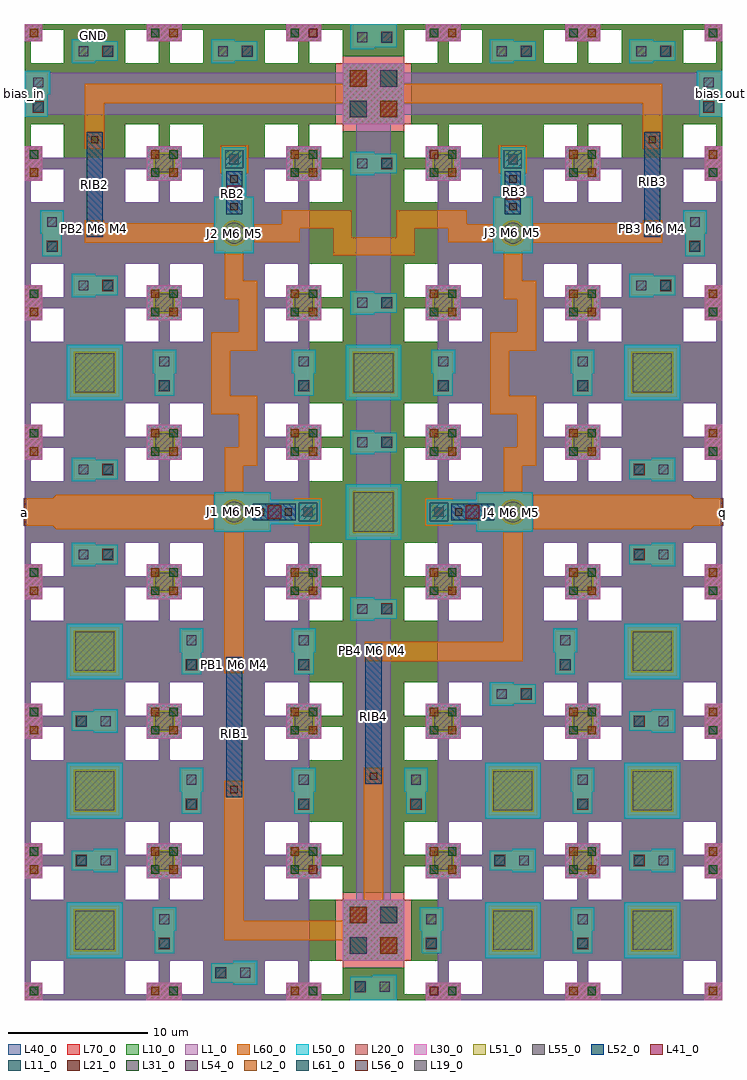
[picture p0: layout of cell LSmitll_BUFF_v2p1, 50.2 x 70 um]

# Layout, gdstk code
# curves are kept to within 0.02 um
from math import pi, radians
import gdstk
lib = gdstk.Library(unit=1e-6, precision=1e-09)
def R(c, l, rs):  # rectangles x0, y0, x1, y1
    for r in rs: c.add(gdstk.rectangle(r[:2], r[2:], *l))
def P(c, l, *ps):  # polygons
    for p in ps: c.add(gdstk.Polygon(p, *l))
L1_0 = (1, 0)
L2_0 = (2, 0)
L10_0 = (10, 0)
L11_0 = (11, 0)
L19_0 = (19, 0)
L20_0 = (20, 0)
L21_0 = (21, 0)
L30_0 = (30, 0)
L31_0 = (31, 0)
L40_0 = (40, 0)
L41_0 = (41, 0)
L50_0 = (50, 0)
L51_0 = (51, 0)
L52_0 = (52, 0)
L54_0 = (54, 0)
L55_0 = (55, 0)
L56_0 = (56, 0)
L60_0 = (60, 0)
L61_0 = (61, 0)
L70_0 = (70, 0)

ls_tr_m0 = lib.new_cell('ls_tr_M0')
P(ls_tr_m0, L1_0, [(0,0),(0,10),(1.25,10),(1.25,8.75),(0.4,8.75),(0.4,1.25),(1.25,1.25),(1.25,0.4),(2.8,0.4),(2.8,2.8),(0.4,2.8),(0.4,7.2),(2.8,7.2),(2.8,9.6),(1.25,9.6),(1.25,10),(7.2,10),(7.2,0.4),(8.75,0.4),(8.75,1.25),(9.6,1.25),(9.6,2.8),(7.2,2.8),(7.2,7.2),(9.6,7.2),(9.6,8.75),(8.75,8.75),(8.75,9.6),(7.2,9.6),(7.2,10),(10,10),(10,0)])

ls_fakejj_3umx3um = lib.new_cell('ls_FakeJJ_3umx3um')
R(ls_fakejj_3umx3um, L40_0, [(-2,-2,2,2)])
R(ls_fakejj_3umx3um, L50_0, [(-2,-2,2,2)])
R(ls_fakejj_3umx3um, L51_0, [(-1.5,-1.5,1.5,1.5)])
R(ls_fakejj_3umx3um, L55_0, [(-1.4,-1.4,1.4,1.4)])
R(ls_fakejj_3umx3um, L60_0, [(-1.75,-1.75,1.75,1.75)])

ls_tr_m7 = lib.new_cell('ls_tr_M7')
P(ls_tr_m7, L70_0, [(0,0),(0,10),(1.25,10),(1.25,8.75),(0.4,8.75),(0.4,1.25),(1.25,1.25),(1.25,0.4),(2.8,0.4),(2.8,2.8),(0.4,2.8),(0.4,7.2),(2.8,7.2),(2.8,9.6),(1.25,9.6),(1.25,10),(7.2,10),(7.2,0.4),(8.75,0.4),(8.75,1.25),(9.6,1.25),(9.6,2.8),(7.2,2.8),(7.2,7.2),(9.6,7.2),(9.6,8.75),(8.75,8.75),(8.75,9.6),(7.2,9.6),(7.2,10),(10,10),(10,0)])

ls_tr_u_m4_alt = lib.new_cell('ls_tr_u_M4_alt')
R(ls_tr_u_m4_alt, L1_0, [(0,0,1.25,1.25), (8.75,0,10,1.25), (0,8.75,1.25,10), (8.75,8.75,10,10)])
R(ls_tr_u_m4_alt, L2_0, [(9.05,0.35,9.65,0.95), (0.35,9.05,0.95,9.65)])
R(ls_tr_u_m4_alt, L10_0, [(0,0,1.25,1.25), (1.25,0,8.75,0.4), (8.75,0,10,1.25), (2.8,0.4,7.2,9.6), (0,1.25,0.4,8.75), (9.6,1.25,10,8.75), (0.4,2.8,2.8,7.2), (7.2,2.8,9.6,7.2), (0,8.75,1.25,10), (8.75,8.75,10,10), (1.25,9.6,8.75,10)])
R(ls_tr_u_m4_alt, L11_0, [(0.35,0.35,0.95,0.95), (9.05,9.05,9.65,9.65)])
R(ls_tr_u_m4_alt, L20_0, [(0,0,1.25,1.25), (8.75,0,10,1.25), (0,8.75,1.25,10), (8.75,8.75,10,10)])
R(ls_tr_u_m4_alt, L21_0, [(9.05,0.35,9.65,0.95), (0.35,9.05,0.95,9.65)])
R(ls_tr_u_m4_alt, L30_0, [(0,0,1.25,1.25), (8.75,0,10,1.25), (0,8.75,1.25,10), (8.75,8.75,10,10)])
R(ls_tr_u_m4_alt, L31_0, [(0.35,0.35,0.95,0.95), (9.05,9.05,9.65,9.65)])
P(ls_tr_u_m4_alt, L40_0, [(0,0),(0,10),(1.25,10),(1.25,8.75),(0.4,8.75),(0.4,1.25),(1.25,1.25),(1.25,0.4),(2.8,0.4),(2.8,2.8),(0.4,2.8),(0.4,7.2),(2.8,7.2),(2.8,9.6),(1.25,9.6),(1.25,10),(7.2,10),(7.2,0.4),(8.75,0.4),(8.75,1.25),(9.6,1.25),(9.6,2.8),(7.2,2.8),(7.2,7.2),(9.6,7.2),(9.6,8.75),(8.75,8.75),(8.75,9.6),(7.2,9.6),(7.2,10),(10,10),(10,0)])
ls_tr_u_m4_alt.add(gdstk.Reference(ls_tr_m7, (0,0)))

ls_tr_bias_pillar_m0m6 = lib.new_cell('ls_tr_bias_pillar_M0M6')
R(ls_tr_bias_pillar_m0m6, L1_0, [(0,0,1.25,1.25), (8.75,0,10,1.25), (2.8,2.8,7.2,7.2), (0,8.75,1.25,10), (8.75,8.75,10,10)])
R(ls_tr_bias_pillar_m0m6, L2_0, [(5.5,3.3,6.7,4.5), (3.3,5.5,4.5,6.7)])
R(ls_tr_bias_pillar_m0m6, L10_0, [(0,0,1.25,1.25), (8.75,0,10,1.25), (2.8,2.8,7.2,7.2), (0,8.75,1.25,10), (8.75,8.75,10,10)])
P(ls_tr_bias_pillar_m0m6, L10_0, [(0,0),(0,10),(7.2,10),(7.2,7.7),(2.8,7.7),(2.8,9.6),(1.25,9.6),(1.25,8.75),(0.4,8.75),(0.4,7.2),(2.3,7.2),(2.3,2.8),(0.4,2.8),(0.4,1.25),(1.25,1.25),(1.25,0.4),(2.8,0.4),(2.8,2.3),(7.2,2.3),(7.2,0.4),(8.75,0.4),(8.75,1.25),(9.6,1.25),(9.6,2.8),(7.7,2.8),(7.7,7.2),(9.6,7.2),(9.6,8.75),(8.75,8.75),(8.75,9.6),(7.2,9.6),(7.2,10),(10,10),(10,0)])
R(ls_tr_bias_pillar_m0m6, L11_0, [(0.35,0.35,0.95,0.95), (3.3,3.3,4.5,4.5), (5.5,5.5,6.7,6.7), (9.05,9.05,9.65,9.65)])
R(ls_tr_bias_pillar_m0m6, L20_0, [(0,0,1.25,1.25), (8.75,0,10,1.25), (2.8,2.8,7.2,7.2), (0,8.75,1.25,10), (8.75,8.75,10,10)])
R(ls_tr_bias_pillar_m0m6, L21_0, [(9.05,0.35,9.65,0.95), (5.5,3.3,6.7,4.5), (3.3,5.5,4.5,6.7), (0.35,9.05,0.95,9.65)])
R(ls_tr_bias_pillar_m0m6, L30_0, [(0,0,1.25,1.25), (8.75,0,10,1.25), (2.8,2.8,7.2,7.2), (0,8.75,1.25,10), (8.75,8.75,10,10)])
R(ls_tr_bias_pillar_m0m6, L31_0, [(0.35,0.35,0.95,0.95), (3.3,3.3,4.5,4.5), (5.5,5.5,6.7,6.7), (9.05,9.05,9.65,9.65)])
R(ls_tr_bias_pillar_m0m6, L40_0, [(2.8,2.8,7.2,7.2)])
P(ls_tr_bias_pillar_m0m6, L40_0, [(0,0),(0,10),(7.2,10),(7.2,7.7),(2.8,7.7),(2.8,9.6),(1.25,9.6),(1.25,8.75),(0.4,8.75),(0.4,7.2),(2.3,7.2),(2.3,2.8),(0.4,2.8),(0.4,1.25),(1.25,1.25),(1.25,0.4),(2.8,0.4),(2.8,2.3),(7.2,2.3),(7.2,0.4),(8.75,0.4),(8.75,1.25),(9.6,1.25),(9.6,2.8),(7.7,2.8),(7.7,7.2),(9.6,7.2),(9.6,8.75),(8.75,8.75),(8.75,9.6),(7.2,9.6),(7.2,10),(10,10),(10,0)])
R(ls_tr_bias_pillar_m0m6, L41_0, [(5.5,3.3,6.7,4.5), (3.3,5.5,4.5,6.7)])
R(ls_tr_bias_pillar_m0m6, L50_0, [(2.8,2.8,7.2,7.2)])
R(ls_tr_bias_pillar_m0m6, L54_0, [(3.3,3.3,4.5,4.5), (5.5,5.5,6.7,6.7)])
R(ls_tr_bias_pillar_m0m6, L60_0, [(2.8,2.8,7.2,7.2)])
P(ls_tr_bias_pillar_m0m6, L70_0, [(0,0),(0,10),(1.25,10),(1.25,8.75),(0.4,8.75),(0.4,1.25),(1.25,1.25),(1.25,0.4),(2.8,0.4),(2.8,2.8),(0.4,2.8),(0.4,7.2),(2.8,7.2),(2.8,9.6),(1.25,9.6),(1.25,10),(7.2,10),(7.2,0.4),(8.75,0.4),(8.75,1.25),(9.6,1.25),(9.6,2.8),(7.2,2.8),(7.2,7.2),(9.6,7.2),(9.6,8.75),(8.75,8.75),(8.75,9.6),(7.2,9.6),(7.2,10),(10,10),(10,0)])

ls_conn_m4m5m6m7 = lib.new_cell('ls_conn_M4M5M6M7')
R(ls_conn_m4m5m6m7, L40_0, [(0,0,1.4,1.4)])
R(ls_conn_m4m5m6m7, L41_0, [(0.3,0.3,1.1,1.1)])
P(ls_conn_m4m5m6m7, L50_0, [(1.6,-0.15),(1.6,0),(0,0),(0,1.4),(1.6,1.4),(1.6,1.55),(3.3,1.55),(3.3,-0.15)])
R(ls_conn_m4m5m6m7, L54_0, [(2.1,0.35,2.8,1.05)])
R(ls_conn_m4m5m6m7, L60_0, [(0,0,3.15,1.4)])
R(ls_conn_m4m5m6m7, L61_0, [(0.35,0.35,1.05,1.05)])
R(ls_conn_m4m5m6m7, L70_0, [(0,0,1.4,1.4)])

ls_conn_m5m6m7 = lib.new_cell('ls_conn_M5M6M7')
R(ls_conn_m5m6m7, L50_0, [(-0.5,-0.5,1.2,1.2)])
R(ls_conn_m5m6m7, L54_0, [(0,0,0.7,0.7)])
R(ls_conn_m5m6m7, L60_0, [(-0.65,-0.65,1.35,1.35)])
R(ls_conn_m5m6m7, L61_0, [(-0.3,-0.3,1,1)])
R(ls_conn_m5m6m7, L70_0, [(-0.65,-0.65,1.35,1.35)])

ls_jj_250_sg = lib.new_cell('ls_jj_250_sg')
R(ls_jj_250_sg, L41_0, [(-0.5,2.4,0.5,3.4)])
R(ls_jj_250_sg, L50_0, [(-1.425,-1.425,1.425,2.625), (-0.875,2.625,0.875,6.175)])
P(ls_jj_250_sg, L51_0, [(0,-0.91),(-0.18,-0.895),(-0.35,-0.84),(-0.645,-0.645),(-0.84,-0.35),(-0.91,0),(-0.895,0.18),(-0.84,0.35),(-0.645,0.645),(-0.35,0.84),(-0.18,0.895),(0,0.91),(0.18,0.895),(0.35,0.84),(0.645,0.645),(0.84,0.35),(0.895,0.18),(0.91,0),(0.84,-0.35),(0.645,-0.645),(0.35,-0.84),(0.18,-0.895)])
R(ls_jj_250_sg, L52_0, [(-0.575,1.35,0.575,4.425)])
R(ls_jj_250_sg, L54_0, [(-0.35,4.95,0.35,5.65)])
P(ls_jj_250_sg, L55_0, [(0,-0.76),(-0.15,-0.75),(-0.29,-0.7),(-0.54,-0.54),(-0.7,-0.29),(-0.75,-0.15),(-0.76,0),(-0.75,0.15),(-0.7,0.29),(-0.54,0.54),(-0.29,0.7),(-0.15,0.75),(0,0.76),(0.15,0.75),(0.29,0.7),(0.54,0.54),(0.7,0.29),(0.75,0.15),(0.76,0),(0.75,-0.15),(0.7,-0.29),(0.54,-0.54),(0.29,-0.7),(0.15,-0.75)])
R(ls_jj_250_sg, L56_0, [(-0.26,1.64,0.26,2.16), (-0.26,3.63,0.26,4.15)])
R(ls_jj_250_sg, L60_0, [(-1.275,-1.275,1.275,2.525), (-0.725,3.25,0.725,6.025)])
ls_jj_250_sg.add(gdstk.Reference(ls_conn_m5m6m7, (-0.35,4.95)))

ls_ib_175 = lib.new_cell('ls_ib_175')
R(ls_ib_175, L52_0, [(-0.575,0,0.575,10.05)])
R(ls_ib_175, L56_0, [(-0.26,0.29,0.26,0.81), (-0.26,9.26,0.26,9.78)])
R(ls_ib_175, L60_0, [(-0.625,-0.1,0.625,1.175), (-0.625,8.875,0.625,10.15)])

ls_fakejj_1p5x1p5um = lib.new_cell('ls_FakeJJ_1p5x1p5um')
R(ls_fakejj_1p5x1p5um, L40_0, [(-1.25,-1.25,1.25,1.25)])
R(ls_fakejj_1p5x1p5um, L50_0, [(-1.25,-1.25,1.25,1.25)])
R(ls_fakejj_1p5x1p5um, L51_0, [(-0.75,-0.75,0.75,0.75)])
R(ls_fakejj_1p5x1p5um, L55_0, [(-0.65,-0.65,0.65,0.65)])
R(ls_fakejj_1p5x1p5um, L60_0, [(-1,-1,1,1)])

ls_ib_235 = lib.new_cell('ls_ib_235')
R(ls_ib_235, L52_0, [(-0.575,0,0.575,7.475)])
R(ls_ib_235, L56_0, [(-0.26,0.29,0.26,0.81), (-0.26,6.68,0.26,7.2)])
R(ls_ib_235, L60_0, [(-0.625,-0.1,0.625,1.175), (-0.625,6.3,0.625,7.575)])

lsmitll_buff_v2p1 = lib.new_cell('LSmitll_BUFF_v2p1')
R(lsmitll_buff_v2p1, L1_0, [(20,1.25,20.4,58.75), (29.6,1.25,30,58.75), (41.25,49.6,48.75,50), (1.25,60,18.75,60.4), (31.25,60,48.75,60.4)])
R(lsmitll_buff_v2p1, L19_0, [(14.74,23.81,15.26,24.33), (24.74,24.76,25.26,25.28), (4.74,55.04,5.26,55.56), (44.74,55.04,45.26,55.56)])
R(lsmitll_buff_v2p1, L50_0, [(23.35,0,26.65,0.25), (0,63.35,0.25,66.65), (49.75,63.35,50,66.65), (23.35,69.75,26.65,70)])
R(lsmitll_buff_v2p1, L60_0, [(23.35,0,26.5,0.25), (0,63.35,0.25,66.5), (49.75,63.35,50,66.5), (23.5,69.75,26.65,70)])
P(lsmitll_buff_v2p1, L60_0, [(47.75,33.75),(47.75,36.25),(48,36),(48,34)],
  [(2.25,33.75),(2,34),(2,36),(2.25,36.25)])
lsmitll_buff_v2p1.add(gdstk.FlexPath([(47.75,35),(36.2,35)], 2.5, ends="flush", simple_path=True, layer=60, datatype=0))  # L60_0
lsmitll_buff_v2p1.add(gdstk.FlexPath([(50,35),(48,35)], 2, ends="flush", simple_path=True, layer=60, datatype=0))  # L60_0
lsmitll_buff_v2p1.add(gdstk.FlexPath([(0,35),(2,35)], 2, ends="flush", simple_path=True, layer=60, datatype=0))  # L60_0
lsmitll_buff_v2p1.add(gdstk.FlexPath([(2.25,35),(13.8,35)], 2.5, ends="flush", simple_path=True, layer=60, datatype=0))  # L60_0
lsmitll_buff_v2p1.add(gdstk.FlexPath([(35,33.725),(35,25),(24.375,25)], 1.4, ends="flush", simple_path=True, layer=60, datatype=0))  # L60_0
lsmitll_buff_v2p1.add(gdstk.FlexPath([(25,16.675),(25,5)], 1.4, ends="flush", simple_path=True, layer=60, datatype=0))  # L60_0
lsmitll_buff_v2p1.add(gdstk.FlexPath([(15,33.725),(15,23.425)], 1.4, ends="flush", simple_path=True, layer=60, datatype=0))  # L60_0
lsmitll_buff_v2p1.add(gdstk.FlexPath([(15,36.275),(15,38.975),(16,38.975),(16,42.675),(14.05,42.675),(14.05,47.225),(16,47.225),(16,50.925),(15,50.925),(15,53.725)], 1.35, ends="flush", simple_path=True, layer=60, datatype=0))  # L60_0
lsmitll_buff_v2p1.add(gdstk.FlexPath([(35,36.275),(35,38.975),(36,38.975),(36,42.675),(34.05,42.675),(34.05,47.225),(36,47.225),(36,50.925),(35,50.925),(35,53.725)], 1.35, ends="flush", simple_path=True, layer=60, datatype=0))  # L60_0
lsmitll_buff_v2p1.add(gdstk.FlexPath([(33.725,55),(31.025,55),(31.025,56),(27.325,56),(27.325,54.05),(22.775,54.05),(22.775,56),(19.075,56),(19.075,55),(16.275,55)], 1.3, ends="flush", simple_path=True, layer=60, datatype=0))  # L60_0
lsmitll_buff_v2p1.add(gdstk.FlexPath([(13.725,55),(5,55),(5,55.925)], 1.4, ends="flush", simple_path=True, layer=60, datatype=0))  # L60_0
lsmitll_buff_v2p1.add(gdstk.FlexPath([(36.275,55),(45,55),(45,55.925)], 1.4, ends="flush", simple_path=True, layer=60, datatype=0))  # L60_0
lsmitll_buff_v2p1.add(gdstk.FlexPath([(45,61.05),(45,65),(25,65)], 1.4, ends="flush", simple_path=True, layer=60, datatype=0))  # L60_0
lsmitll_buff_v2p1.add(gdstk.FlexPath([(5,61.05),(5,65),(25,65)], 1.4, ends="flush", simple_path=True, layer=60, datatype=0))  # L60_0
lsmitll_buff_v2p1.add(gdstk.FlexPath([(25,5),(15,5),(15,15.725)], 1.4, ends="flush", simple_path=True, layer=60, datatype=0))  # L60_0
lsmitll_buff_v2p1.add(gdstk.FlexPath([(25,65),(25,5)], 2.5, ends="flush", simple_path=True, layer=1, datatype=0))  # L1_0
lsmitll_buff_v2p1.add(gdstk.FlexPath([(0,65),(50,65)], 3, ends="flush", simple_path=True, layer=1, datatype=0))  # L1_0
lsmitll_buff_v2p1.add(gdstk.FlexPath([(50,34),(50,36)], 0.2, ends="flush", simple_path=True, layer=19, datatype=0))  # L19_0
lsmitll_buff_v2p1.add(gdstk.FlexPath([(0,34),(0,36)], 0.2, ends="flush", simple_path=True, layer=19, datatype=0))  # L19_0
lsmitll_buff_v2p1.add(gdstk.Reference(ls_tr_m0, (0,30)))
lsmitll_buff_v2p1.add(gdstk.Reference(ls_tr_m0, (40,30)))
lsmitll_buff_v2p1.add(gdstk.Reference(ls_fakejj_3umx3um, (25,35)))
lsmitll_buff_v2p1.add(gdstk.Reference(ls_tr_u_m4_alt, (20,10)))
lsmitll_buff_v2p1.add(gdstk.Reference(ls_tr_bias_pillar_m0m6, (20,60)))
lsmitll_buff_v2p1.add(gdstk.Reference(ls_conn_m4m5m6m7, (23.35,0.25)))
lsmitll_buff_v2p1.add(gdstk.Reference(ls_conn_m4m5m6m7, (26.65,27.35), rotation=pi, x_reflection=True))
lsmitll_buff_v2p1.add(gdstk.Reference(ls_conn_m4m5m6m7, (26.65,68.35), rotation=pi, x_reflection=True))
lsmitll_buff_v2p1.add(gdstk.Reference(ls_conn_m4m5m6m7, (26.65,49.3), rotation=pi, x_reflection=True))
lsmitll_buff_v2p1.add(gdstk.Reference(ls_conn_m4m5m6m7, (26.65,39.3), rotation=pi, x_reflection=True))
lsmitll_buff_v2p1.add(gdstk.Reference(ls_tr_bias_pillar_m0m6, (20,0)))
lsmitll_buff_v2p1.add(gdstk.Reference(ls_jj_250_sg, (35,35), rotation=pi/2))
lsmitll_buff_v2p1.add(gdstk.Reference(ls_tr_u_m4_alt, (40,30)))
lsmitll_buff_v2p1.add(gdstk.Reference(ls_tr_u_m4_alt, (30,30)))
lsmitll_buff_v2p1.add(gdstk.Reference(ls_tr_u_m4_alt, (20,20)))
lsmitll_buff_v2p1.add(gdstk.Reference(ls_tr_u_m4_alt, (20,30)))
lsmitll_buff_v2p1.add(gdstk.Reference(ls_tr_u_m4_alt, (20,40)))
lsmitll_buff_v2p1.add(gdstk.Reference(ls_tr_u_m4_alt, (20,50)))
lsmitll_buff_v2p1.add(gdstk.Reference(ls_tr_u_m4_alt, (10,30)))
lsmitll_buff_v2p1.add(gdstk.Reference(ls_tr_u_m4_alt, (0,30)))
lsmitll_buff_v2p1.add(gdstk.Reference(ls_jj_250_sg, (15,35), rotation=3*pi/2))
lsmitll_buff_v2p1.add(gdstk.Reference(ls_ib_175, (25,15.5)))
lsmitll_buff_v2p1.add(gdstk.Reference(ls_tr_m0, (30,30)))
lsmitll_buff_v2p1.add(gdstk.Reference(ls_tr_m0, (10,30)))
lsmitll_buff_v2p1.add(gdstk.Reference(ls_conn_m4m5m6m7, (26.65,59.3), rotation=pi, x_reflection=True))
lsmitll_buff_v2p1.add(gdstk.Reference(ls_fakejj_3umx3um, (25,45)))
lsmitll_buff_v2p1.add(gdstk.Reference(ls_conn_m4m5m6m7, (43.35,37.35)))
lsmitll_buff_v2p1.add(gdstk.Reference(ls_conn_m4m5m6m7, (46.65,50.55), rotation=pi, x_reflection=True))
lsmitll_buff_v2p1.add(gdstk.Reference(ls_conn_m4m5m6m7, (36.65,67.35), rotation=pi, x_reflection=True))
lsmitll_buff_v2p1.add(gdstk.Reference(ls_conn_m4m5m6m7, (46.65,67.35), rotation=pi, x_reflection=True))
lsmitll_buff_v2p1.add(gdstk.Reference(ls_tr_m0, (40,40)))
lsmitll_buff_v2p1.add(gdstk.Reference(ls_conn_m4m5m6m7, (48.35,63.35), rotation=pi/2, x_reflection=True))
lsmitll_buff_v2p1.add(gdstk.Reference(ls_conn_m4m5m6m7, (39.3,43.35), rotation=pi/2, x_reflection=True))
lsmitll_buff_v2p1.add(gdstk.Reference(ls_jj_250_sg, (35,55)))
lsmitll_buff_v2p1.add(gdstk.Reference(ls_conn_m4m5m6m7, (29.3,43.35), rotation=pi/2, x_reflection=True))
lsmitll_buff_v2p1.add(gdstk.Reference(ls_tr_u_m4_alt, (40,50)))
lsmitll_buff_v2p1.add(gdstk.Reference(ls_fakejj_1p5x1p5um, (30,60)))
lsmitll_buff_v2p1.add(gdstk.Reference(ls_fakejj_1p5x1p5um, (40,60)))
lsmitll_buff_v2p1.add(gdstk.Reference(ls_fakejj_1p5x1p5um, (40,50)))
lsmitll_buff_v2p1.add(gdstk.Reference(ls_fakejj_1p5x1p5um, (30,50)))
lsmitll_buff_v2p1.add(gdstk.Reference(ls_fakejj_1p5x1p5um, (30,40)))
lsmitll_buff_v2p1.add(gdstk.Reference(ls_fakejj_1p5x1p5um, (40,40)))
lsmitll_buff_v2p1.add(gdstk.Reference(ls_tr_m0, (30,50)))
lsmitll_buff_v2p1.add(gdstk.Reference(ls_tr_m0, (40,50)))
lsmitll_buff_v2p1.add(gdstk.Reference(ls_tr_m0, (30,40)))
lsmitll_buff_v2p1.add(gdstk.Reference(ls_conn_m4m5m6m7, (47.35,53.35), rotation=pi/2, x_reflection=True))
lsmitll_buff_v2p1.add(gdstk.Reference(ls_tr_u_m4_alt, (30,60)))
lsmitll_buff_v2p1.add(gdstk.Reference(ls_tr_u_m4_alt, (30,50)))
lsmitll_buff_v2p1.add(gdstk.Reference(ls_tr_u_m4_alt, (40,60)))
lsmitll_buff_v2p1.add(gdstk.Reference(ls_tr_u_m4_alt, (40,40)))
lsmitll_buff_v2p1.add(gdstk.Reference(ls_tr_u_m4_alt, (30,40)))
lsmitll_buff_v2p1.add(gdstk.Reference(ls_fakejj_3umx3um, (45,45)))
lsmitll_buff_v2p1.add(gdstk.Reference(ls_ib_235, (45,54.75)))
lsmitll_buff_v2p1.add(gdstk.Reference(ls_conn_m4m5m6m7, (6.65,50.55), rotation=pi, x_reflection=True))
lsmitll_buff_v2p1.add(gdstk.Reference(ls_conn_m4m5m6m7, (6.65,67.35), rotation=pi, x_reflection=True))
lsmitll_buff_v2p1.add(gdstk.Reference(ls_conn_m4m5m6m7, (16.65,67.35), rotation=pi, x_reflection=True))
lsmitll_buff_v2p1.add(gdstk.Reference(ls_tr_u_m4_alt, (10,60)))
lsmitll_buff_v2p1.add(gdstk.Reference(ls_fakejj_1p5x1p5um, (20,50)))
lsmitll_buff_v2p1.add(gdstk.Reference(ls_fakejj_1p5x1p5um, (10,50)))
lsmitll_buff_v2p1.add(gdstk.Reference(ls_fakejj_1p5x1p5um, (10,40)))
lsmitll_buff_v2p1.add(gdstk.Reference(ls_fakejj_1p5x1p5um, (20,40)))
lsmitll_buff_v2p1.add(gdstk.Reference(ls_tr_u_m4_alt, (10,50)))
lsmitll_buff_v2p1.add(gdstk.Reference(ls_tr_u_m4_alt, (10,40)))
lsmitll_buff_v2p1.add(gdstk.Reference(ls_tr_m0, (10,50)))
lsmitll_buff_v2p1.add(gdstk.Reference(ls_conn_m4m5m6m7, (19.3,43.35), rotation=pi/2, x_reflection=True))
lsmitll_buff_v2p1.add(gdstk.Reference(ls_conn_m4m5m6m7, (9.3,43.35), rotation=pi/2, x_reflection=True))
lsmitll_buff_v2p1.add(gdstk.Reference(ls_tr_m0, (10,40)))
lsmitll_buff_v2p1.add(gdstk.Reference(ls_tr_u_m4_alt, (0,50)))
lsmitll_buff_v2p1.add(gdstk.Reference(ls_tr_u_m4_alt, (0,60)))
lsmitll_buff_v2p1.add(gdstk.Reference(ls_tr_m0, (0,50)))
lsmitll_buff_v2p1.add(gdstk.Reference(ls_conn_m4m5m6m7, (0.25,63.35), rotation=pi/2, x_reflection=True))
lsmitll_buff_v2p1.add(gdstk.Reference(ls_jj_250_sg, (15,55), rotation=pi, x_reflection=True))
lsmitll_buff_v2p1.add(gdstk.Reference(ls_tr_m0, (0,40)))
lsmitll_buff_v2p1.add(gdstk.Reference(ls_conn_m4m5m6m7, (1.25,53.35), rotation=pi/2, x_reflection=True))
lsmitll_buff_v2p1.add(gdstk.Reference(ls_tr_u_m4_alt, (0,40)))
lsmitll_buff_v2p1.add(gdstk.Reference(ls_fakejj_3umx3um, (5,45)))
lsmitll_buff_v2p1.add(gdstk.Reference(ls_conn_m4m5m6m7, (6.65,37.35), rotation=pi, x_reflection=True))
lsmitll_buff_v2p1.add(gdstk.Reference(ls_fakejj_1p5x1p5um, (10,60)))
lsmitll_buff_v2p1.add(gdstk.Reference(ls_ib_235, (5,54.75)))
lsmitll_buff_v2p1.add(gdstk.Reference(ls_fakejj_1p5x1p5um, (20,60)))
lsmitll_buff_v2p1.add(gdstk.Reference(ls_conn_m4m5m6m7, (3.35,19.3)))
lsmitll_buff_v2p1.add(gdstk.Reference(ls_tr_u_m4_alt, (0,0)))
lsmitll_buff_v2p1.add(gdstk.Reference(ls_fakejj_1p5x1p5um, (20,30)))
lsmitll_buff_v2p1.add(gdstk.Reference(ls_fakejj_1p5x1p5um, (10,30)))
lsmitll_buff_v2p1.add(gdstk.Reference(ls_fakejj_1p5x1p5um, (10,20)))
lsmitll_buff_v2p1.add(gdstk.Reference(ls_fakejj_1p5x1p5um, (20,20)))
lsmitll_buff_v2p1.add(gdstk.Reference(ls_fakejj_1p5x1p5um, (20,10)))
lsmitll_buff_v2p1.add(gdstk.Reference(ls_fakejj_1p5x1p5um, (10,10)))
lsmitll_buff_v2p1.add(gdstk.Reference(ls_fakejj_3umx3um, (5,15)))
lsmitll_buff_v2p1.add(gdstk.Reference(ls_fakejj_3umx3um, (5,25)))
lsmitll_buff_v2p1.add(gdstk.Reference(ls_tr_m0, (0,10)))
lsmitll_buff_v2p1.add(gdstk.Reference(ls_tr_m0, (0,0)))
lsmitll_buff_v2p1.add(gdstk.Reference(ls_conn_m4m5m6m7, (3.35,9.3)))
lsmitll_buff_v2p1.add(gdstk.Reference(ls_ib_175, (15,14.55)))
lsmitll_buff_v2p1.add(gdstk.Reference(ls_tr_m0, (0,20)))
lsmitll_buff_v2p1.add(gdstk.Reference(ls_conn_m4m5m6m7, (11.25,23.35), rotation=pi/2, x_reflection=True))
lsmitll_buff_v2p1.add(gdstk.Reference(ls_conn_m4m5m6m7, (11.25,13.35), rotation=pi/2, x_reflection=True))
lsmitll_buff_v2p1.add(gdstk.Reference(ls_tr_m0, (10,20)))
lsmitll_buff_v2p1.add(gdstk.Reference(ls_tr_m0, (10,10)))
lsmitll_buff_v2p1.add(gdstk.Reference(ls_tr_m0, (10,0)))
lsmitll_buff_v2p1.add(gdstk.Reference(ls_conn_m4m5m6m7, (19.3,13.35), rotation=pi/2, x_reflection=True))
lsmitll_buff_v2p1.add(gdstk.Reference(ls_conn_m4m5m6m7, (6.65,31.25), rotation=pi, x_reflection=True))
lsmitll_buff_v2p1.add(gdstk.Reference(ls_conn_m4m5m6m7, (19.3,23.35), rotation=pi/2, x_reflection=True))
lsmitll_buff_v2p1.add(gdstk.Reference(ls_conn_m4m5m6m7, (13.35,1.25)))
lsmitll_buff_v2p1.add(gdstk.Reference(ls_conn_m4m5m6m7, (9.3,3.35), rotation=pi/2, x_reflection=True))
lsmitll_buff_v2p1.add(gdstk.Reference(ls_tr_u_m4_alt, (10,20)))
lsmitll_buff_v2p1.add(gdstk.Reference(ls_tr_u_m4_alt, (10,10)))
lsmitll_buff_v2p1.add(gdstk.Reference(ls_tr_u_m4_alt, (10,0)))
lsmitll_buff_v2p1.add(gdstk.Reference(ls_fakejj_3umx3um, (5,5)))
lsmitll_buff_v2p1.add(gdstk.Reference(ls_tr_u_m4_alt, (0,10)))
lsmitll_buff_v2p1.add(gdstk.Reference(ls_tr_u_m4_alt, (0,20)))
lsmitll_buff_v2p1.add(gdstk.Reference(ls_conn_m4m5m6m7, (39.3,3.35), rotation=pi/2, x_reflection=True))
lsmitll_buff_v2p1.add(gdstk.Reference(ls_fakejj_3umx3um, (45,25)))
lsmitll_buff_v2p1.add(gdstk.Reference(ls_fakejj_3umx3um, (45,15)))
lsmitll_buff_v2p1.add(gdstk.Reference(ls_fakejj_3umx3um, (35,15)))
lsmitll_buff_v2p1.add(gdstk.Reference(ls_conn_m4m5m6m7, (43.35,9.3)))
lsmitll_buff_v2p1.add(gdstk.Reference(ls_conn_m4m5m6m7, (33.35,9.3)))
lsmitll_buff_v2p1.add(gdstk.Reference(ls_conn_m4m5m6m7, (43.35,31.25)))
lsmitll_buff_v2p1.add(gdstk.Reference(ls_tr_u_m4_alt, (40,10)))
lsmitll_buff_v2p1.add(gdstk.Reference(ls_conn_m4m5m6m7, (36.65,21.25), rotation=pi, x_reflection=True))
lsmitll_buff_v2p1.add(gdstk.Reference(ls_tr_m0, (40,0)))
lsmitll_buff_v2p1.add(gdstk.Reference(ls_tr_m0, (40,10)))
lsmitll_buff_v2p1.add(gdstk.Reference(ls_conn_m4m5m6m7, (28.45,3.35), rotation=pi/2, x_reflection=True))
lsmitll_buff_v2p1.add(gdstk.Reference(ls_conn_m4m5m6m7, (39.3,13.35), rotation=pi/2, x_reflection=True))
lsmitll_buff_v2p1.add(gdstk.Reference(ls_tr_u_m4_alt, (30,20)))
lsmitll_buff_v2p1.add(gdstk.Reference(ls_tr_m0, (30,20)))
lsmitll_buff_v2p1.add(gdstk.Reference(ls_tr_m0, (30,10)))
lsmitll_buff_v2p1.add(gdstk.Reference(ls_tr_u_m4_alt, (30,10)))
lsmitll_buff_v2p1.add(gdstk.Reference(ls_tr_u_m4_alt, (30,0)))
lsmitll_buff_v2p1.add(gdstk.Reference(ls_tr_m0, (30,0)))
lsmitll_buff_v2p1.add(gdstk.Reference(ls_fakejj_1p5x1p5um, (40,30)))
lsmitll_buff_v2p1.add(gdstk.Reference(ls_fakejj_1p5x1p5um, (30,30)))
lsmitll_buff_v2p1.add(gdstk.Reference(ls_conn_m4m5m6m7, (27.35,13.35), rotation=pi/2, x_reflection=True))
lsmitll_buff_v2p1.add(gdstk.Reference(ls_tr_m0, (40,20)))
lsmitll_buff_v2p1.add(gdstk.Reference(ls_tr_u_m4_alt, (40,0)))
lsmitll_buff_v2p1.add(gdstk.Reference(ls_conn_m4m5m6m7, (43.35,19.3)))
lsmitll_buff_v2p1.add(gdstk.Reference(ls_conn_m4m5m6m7, (38.05,23.35), rotation=pi/2, x_reflection=True))
lsmitll_buff_v2p1.add(gdstk.Reference(ls_fakejj_1p5x1p5um, (30,20)))
lsmitll_buff_v2p1.add(gdstk.Reference(ls_fakejj_1p5x1p5um, (40,20)))
lsmitll_buff_v2p1.add(gdstk.Reference(ls_fakejj_3umx3um, (35,5)))
lsmitll_buff_v2p1.add(gdstk.Reference(ls_fakejj_3umx3um, (45,5)))
lsmitll_buff_v2p1.add(gdstk.Reference(ls_fakejj_1p5x1p5um, (40,10)))
lsmitll_buff_v2p1.add(gdstk.Reference(ls_fakejj_1p5x1p5um, (30,10)))
lsmitll_buff_v2p1.add(gdstk.Reference(ls_tr_u_m4_alt, (40,20)))
lsmitll_buff_v2p1.add(gdstk.Label('a', (0,35), layer=182, texttype=0))
lsmitll_buff_v2p1.add(gdstk.Label('P1 M6 M4', (0,35), layer=182, texttype=0))
lsmitll_buff_v2p1.add(gdstk.Label('J1 M6 M5', (15,35.025), layer=182, texttype=0))
lsmitll_buff_v2p1.add(gdstk.Label('PB1 M6 M4', (15,24.075), layer=182, texttype=0))
lsmitll_buff_v2p1.add(gdstk.Label('J2 M6 M5', (15.05,54.975), layer=182, texttype=0))
lsmitll_buff_v2p1.add(gdstk.Label('PB2 M6 M4', (5,55.3), layer=182, texttype=0))
lsmitll_buff_v2p1.add(gdstk.Label('J3 M6 M5', (34.95,55.025), layer=182, texttype=0))
lsmitll_buff_v2p1.add(gdstk.Label('PB3 M6 M4', (45,55.3), layer=182, texttype=0))
lsmitll_buff_v2p1.add(gdstk.Label('J4 M6 M5', (34.875,35), layer=182, texttype=0))
lsmitll_buff_v2p1.add(gdstk.Label('PB4 M6 M4', (24.95,25.075), layer=182, texttype=0))
lsmitll_buff_v2p1.add(gdstk.Label('q', (50,35), layer=182, texttype=0))
lsmitll_buff_v2p1.add(gdstk.Label('P2 M6 M4', (50,35), layer=182, texttype=0))
lsmitll_buff_v2p1.add(gdstk.Label('bias_in', (0,65), layer=182, texttype=0))
lsmitll_buff_v2p1.add(gdstk.Label('bias_out', (50,65), layer=182, texttype=0))
lsmitll_buff_v2p1.add(gdstk.Label('VDD', (1.75,65.025), layer=1, texttype=1))
lsmitll_buff_v2p1.add(gdstk.Label('GND', (4.925,69.175), layer=40, texttype=1))
lsmitll_buff_v2p1.add(gdstk.Label('RB4', (32.117,35.043), layer=52, texttype=1))
lsmitll_buff_v2p1.add(gdstk.Label('RB2', (14.878,57.862), layer=52, texttype=1))
lsmitll_buff_v2p1.add(gdstk.Label('RB3', (35.09,57.962), layer=52, texttype=1))
lsmitll_buff_v2p1.add(gdstk.Label('RIB2', (4.954,58.465), layer=52, texttype=1))
lsmitll_buff_v2p1.add(gdstk.Label('RIB3', (44.983,58.683), layer=52, texttype=1))
lsmitll_buff_v2p1.add(gdstk.Label('RB1', (17.9,34.95), layer=52, texttype=1))
lsmitll_buff_v2p1.add(gdstk.Label('RIB1', (15,19.125), layer=52, texttype=1))
lsmitll_buff_v2p1.add(gdstk.Label('RIB4', (25,20.35), layer=52, texttype=1))
lsmitll_buff_v2p1.add(gdstk.Label('a', (0.05,34.075), layer=60, texttype=1))
lsmitll_buff_v2p1.add(gdstk.Label('q', (49.95,34.075), layer=60, texttype=1))

lib.write_gds('LSmitll_BUFF_v2p1.gds')
